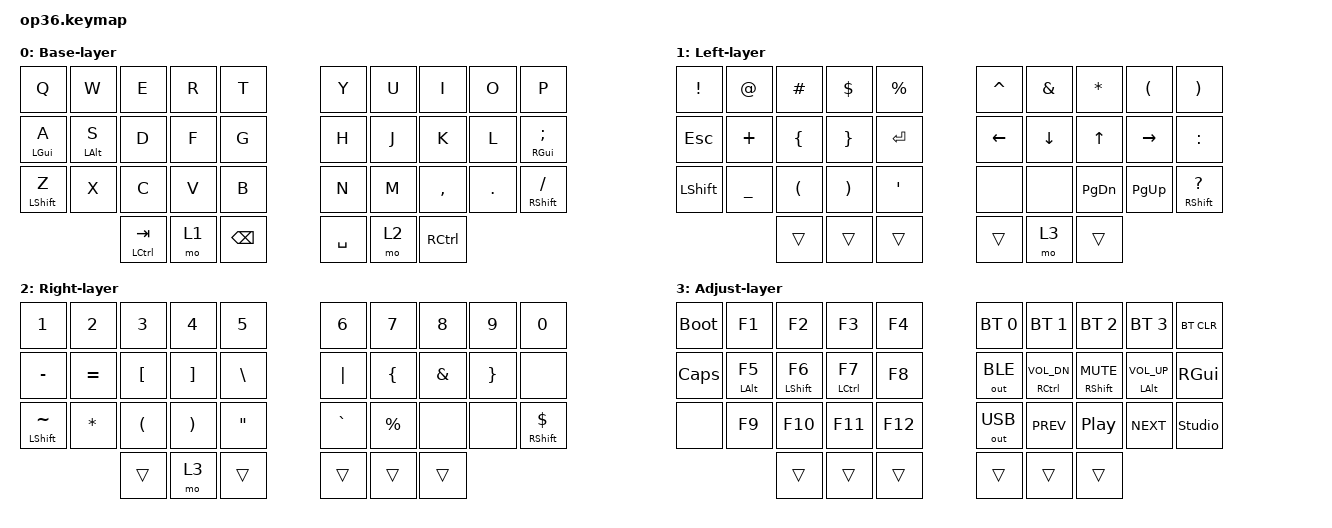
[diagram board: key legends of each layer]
#include <behaviors.dtsi>
#include <dt-bindings/zmk/bt.h>
#include <dt-bindings/zmk/keys.h>
#include <dt-bindings/zmk/outputs.h>

#define HRM_IDLE 20 // минимальное время простоя ПЕРЕД нажатием hold-tap клавиши
#define HRM_TAP_TERM 200 // если времени прошло меньше чем это значение засчитывается tap
#define HRM_QUICK_TAP 100 // даблтап
#define FLAVOR "balanced"

&mt {
    quick-tap-ms = <200>;
    flavor = "tap-preferred";
    require-prior-idle-ms = <125>;
};

/ {
    behaviors {
        hml: home_row_mod_left {
            compatible = "zmk,behavior-hold-tap";
            #binding-cells = <2>;
            flavor = FLAVOR;
            require-prior-idle-ms = <HRM_IDLE>;
            tapping-term-ms = <HRM_TAP_TERM>;
            quick-tap-ms = <HRM_QUICK_TAP>;
            bindings = <&kp>, <&kp>;

            hold-trigger-key-positions = <5 6 7 8 9 15 16 17 18 19 25 26 27 28 29 33 34 35>;
            hold-trigger-on-release;
        };

        hmr: home_row_mod_right {
            compatible = "zmk,behavior-hold-tap";
            #binding-cells = <2>;
            flavor = FLAVOR;
            require-prior-idle-ms = <HRM_IDLE>;
            tapping-term-ms = <HRM_TAP_TERM>;
            quick-tap-ms = <HRM_QUICK_TAP>;
            bindings = <&kp>, <&kp>;

            hold-trigger-key-positions = <0 1 2 3 4 10 11 12 13 14 20 21 22 23 24 30 31 32>;
            hold-trigger-on-release;
        };
    };

    keymap {
        compatible = "zmk,keymap";

        base {
            bindings = <
  &kp Q         &kp W        &kp E  &kp R           &kp T                              &kp Y  &kp U  &kp I      &kp O    &kp P
  &hml LGUI A   &hml LALT S  &kp D  &kp F           &kp G                              &kp H  &kp J  &kp K      &kp L    &hmr RGUI SEMICOLON
  &hml LSHFT Z  &kp X        &kp C  &kp V           &kp B                              &kp N  &kp M  &kp COMMA  &kp DOT  &hmr RSHFT FSLH
                                    &hml LCTRL TAB  &mo 1  &kp BACKSPACE    &kp SPACE  &mo 2  &kp RCTRL
            >;

            display-name = "Base-layer";
        };

        left {
            bindings = <
  &kp EXCL    &kp AT     &kp HASH  &kp DLLR  &kp PRCNT                     &kp CARET &kp AMPS  &kp STAR   &kp LPAR   &kp RPAR
  &kp ESC     &kp PLUS   &kp LBRC  &kp RBRC  &kp RET                       &kp LEFT  &kp DOWN  &kp UP     &kp RIGHT  &kp COLON
  &kp LSHIFT  &kp UNDER  &kp LPAR  &kp RPAR  &kp SQT                       &none     &none     &kp PG_DN  &kp PG_UP  &hmr RSHFT QUESTION
                                   &trans    &trans      &trans    &trans  &mo 3     &trans
            >;

            display-name = "Left-layer";
        };

        right {
            bindings = <
  &kp N1             &kp N2     &kp N3    &kp N4    &kp N5                      &kp N6     &kp N7     &kp N8     &kp N9    &kp N0
  &kp MINUS          &kp EQUAL  &kp LBKT  &kp RBKT  &kp BSLH                    &kp PIPE   &kp LBRC   &kp AMPS   &kp RBRC  &none
  &hml LSHIFT TILDE  &kp STAR   &kp LPAR  &kp RPAR  &kp DQT                     &kp GRAVE  &kp PRCNT  &none      &none     &hml RSHFT DLLR
                                          &trans    &mo 3     &trans    &trans  &trans     &trans
            >;

            display-name = "Right-layer";
        };

        adj {
            bindings = <
  &bootloader  &kp F1        &kp F2         &kp F3         &kp F4                     &bt BT_SEL 0  &bt BT_SEL 1         &bt BT_SEL 2       &bt BT_SEL 3        &bt BT_CLR
  &kp CAPS     &hml LALT F5  &hml LSHFT F6  &hml LCTRL F7  &kp F8                     &out OUT_BLE  &hmr RCTRL C_VOL_DN  &hmr RSHFT C_MUTE  &hmr LALT C_VOL_UP  &kp RGUI
  &none        &kp F9        &kp F10        &kp F11        &kp F12                    &out OUT_USB  &kp C_PREV           &kp C_PP           &kp C_NEXT          &studio_unlock
                                            &trans         &trans   &trans    &trans  &trans        &trans
            >;

            display-name = "Adjust-layer";
        };
    };
};
